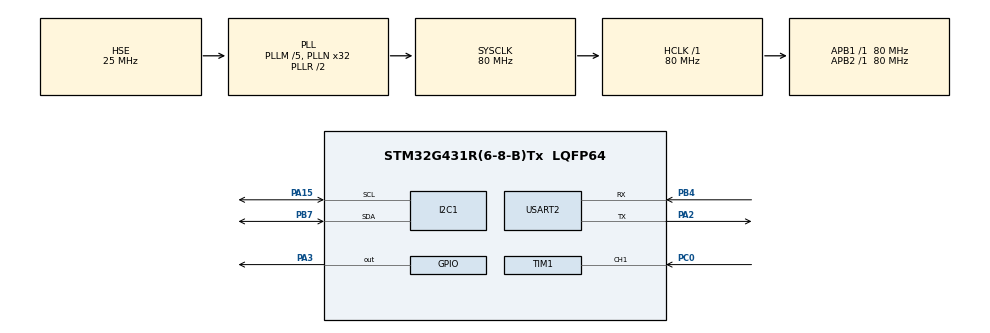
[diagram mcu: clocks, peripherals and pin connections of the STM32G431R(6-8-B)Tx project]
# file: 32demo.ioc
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Dma.Request0=USART2_RX
Dma.Request1=USART2_TX
Dma.USART2_RX.0.Direction=DMA_PERIPH_TO_MEMORY
Dma.USART2_RX.0.EventEnable=DISABLE
Dma.USART2_RX.0.Instance=DMA1_Channel1
Dma.USART2_RX.0.MemDataAlignment=DMA_MDATAALIGN_BYTE
Dma.USART2_RX.0.MemInc=DMA_MINC_ENABLE
Dma.USART2_RX.0.Mode=DMA_NORMAL
Dma.USART2_RX.0.PeriphDataAlignment=DMA_PDATAALIGN_BYTE
Dma.USART2_RX.0.PeriphInc=DMA_PINC_DISABLE
Dma.USART2_RX.0.Polarity=HAL_DMAMUX_REQ_GEN_RISING
Dma.USART2_RX.0.Priority=DMA_PRIORITY_LOW
Dma.USART2_RX.0.RequestNumber=1
Dma.USART2_RX.0.SignalID=NONE
Dma.USART2_RX.0.SyncEnable=DISABLE
Dma.USART2_RX.0.SyncPolarity=HAL_DMAMUX_SYNC_NO_EVENT
Dma.USART2_RX.0.SyncRequestNumber=1
Dma.USART2_RX.0.SyncSignalID=NONE
Dma.USART2_TX.1.Direction=DMA_MEMORY_TO_PERIPH
Dma.USART2_TX.1.EventEnable=DISABLE
Dma.USART2_TX.1.Instance=DMA1_Channel2
Dma.USART2_TX.1.MemDataAlignment=DMA_MDATAALIGN_BYTE
Dma.USART2_TX.1.MemInc=DMA_MINC_ENABLE
Dma.USART2_TX.1.Mode=DMA_NORMAL
Dma.USART2_TX.1.PeriphDataAlignment=DMA_PDATAALIGN_BYTE
Dma.USART2_TX.1.PeriphInc=DMA_PINC_DISABLE
Dma.USART2_TX.1.Polarity=HAL_DMAMUX_REQ_GEN_RISING
Dma.USART2_TX.1.Priority=DMA_PRIORITY_LOW
Dma.USART2_TX.1.RequestNumber=1
Dma.USART2_TX.1.SignalID=NONE
Dma.USART2_TX.1.SyncEnable=DISABLE
Dma.USART2_TX.1.SyncPolarity=HAL_DMAMUX_SYNC_NO_EVENT
Dma.USART2_TX.1.SyncRequestNumber=1
Dma.USART2_TX.1.SyncSignalID=NONE
I2C1.Timing=0x10D19CE4
Mcu.Family=STM32G4
Mcu.Name=STM32G431R(6-8-B)Tx
Mcu.Package=LQFP64
NVIC.DMA1_Channel1_IRQn=true\:0\:0\:false\:false\:true\:false\:true\:true
NVIC.DMA1_Channel2_IRQn=true\:0\:0\:false\:false\:true\:false\:true\:true
NVIC.PriorityGroup=NVIC_PRIORITYGROUP_4
NVIC.TIM1_UP_TIM16_IRQn=true\:0\:0\:false\:false\:true\:true\:true\:true
NVIC.USART2_IRQn=true\:0\:0\:false\:false\:true\:true\:true\:true
PA13.Mode=Serial_Wire
PA13.Signal=SYS_JTMS-SWDIO
PA14.Mode=Serial_Wire
PA14.Signal=SYS_JTCK-SWCLK
PA15.Mode=I2C
PA15.Signal=I2C1_SCL
PA2.Mode=Asynchronous
PA2.Signal=USART2_TX
PA3.Signal=GPIO_Output
PB4.Mode=Asynchronous
PB4.Signal=USART2_RX
PB7.Mode=I2C
PB7.Signal=I2C1_SDA
PC0.Signal=S_TIM1_CH1
PC14-OSC32_IN.Mode=LSE-External-Oscillator
PC14-OSC32_IN.Signal=RCC_OSC32_IN
PC15-OSC32_OUT.Mode=LSE-External-Oscillator
PC15-OSC32_OUT.Signal=RCC_OSC32_OUT
PF0-OSC_IN.Mode=HSE-External-Oscillator
PF0-OSC_IN.Signal=RCC_OSC_IN
PF1-OSC_OUT.Mode=HSE-External-Oscillator
PF1-OSC_OUT.Signal=RCC_OSC_OUT
ProjectManager.HeapSize=0x200
ProjectManager.StackSize=0x400
ProjectManager.TargetToolchain=CMake
RCC.ADC12Freq_Value=80000000
RCC.AHBFreq_Value=80000000
RCC.APB1Freq_Value=80000000
RCC.APB1TimFreq_Value=80000000
RCC.APB2Freq_Value=80000000
RCC.APB2TimFreq_Value=80000000
RCC.CortexFreq_Value=80000000
RCC.EXTERNAL_CLOCK_VALUE=12288000
RCC.HCLKFreq_Value=80000000
RCC.HSE_VALUE=25000000
RCC.HSI48_VALUE=48000000
RCC.HSI_VALUE=16000000
RCC.PLLM=RCC_PLLM_DIV5
RCC.PLLN=32
RCC.PLLSourceVirtual=RCC_PLLSOURCE_HSE
RCC.SYSCLKFreq_VALUE=80000000
RCC.SYSCLKSource=RCC_SYSCLKSOURCE_PLLCLK
RCC.USBFreq_Value=80000000
RCC.VCOOutputFreq_Value=160000000
SH.S_TIM1_CH1.0=TIM1_CH1,Input_Capture1_from_TI1
TIM1.Channel-Input_Capture1_from_TI1=TIM_CHANNEL_1
TIM1.PeriodNoDither=1000-1
TIM1.Prescaler=80-1
USART2.VirtualMode-Asynchronous=VM_ASYNC
VP_SYS_VS_DBSignals.Mode=DisableDeadBatterySignals
VP_TIM1_VS_ClockSourceINT.Mode=Internal
board=custom

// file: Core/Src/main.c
/* USER CODE BEGIN Header */
/**
  ******************************************************************************
  * @file           : main.c
  * @brief          : Main program body
  ******************************************************************************
  * @attention
  *
  * Copyright (c) 2026 STMicroelectronics.
  * All rights reserved.
  *
  * This software is licensed under terms that can be found in the LICENSE file
  * in the root directory of this software component.
  * If no LICENSE file comes with this software, it is provided AS-IS.
  *
  ******************************************************************************
  */
/* USER CODE END Header */
#include "main.h"

/* USER CODE BEGIN Includes */
#include "bootloader.h"
/* USER CODE END Includes */

I2C_HandleTypeDef hi2c1;

TIM_HandleTypeDef htim1;

UART_HandleTypeDef huart2;
DMA_HandleTypeDef hdma_usart2_rx;
DMA_HandleTypeDef hdma_usart2_tx;

/* USER CODE BEGIN PV */
static volatile uint8_t g_tx_ready = 0;   /* 发送标志位：1 = 数据就绪待发送 */
static volatile uint8_t g_tx_seq = 0;     /* 当前数据包序号 */
static volatile uint32_t g_tx_systick = 0; /* ISR 捕获的 SysTick 值 */
/* USER CODE END PV */

void SystemClock_Config(void);
static void MX_GPIO_Init(void);
static void MX_DMA_Init(void);
static void MX_I2C1_Init(void);
static void MX_TIM1_Init(void);
static void MX_USART2_UART_Init(void);

int main(void)
{

  /* MCU Configuration--------------------------------------------------------*/

  /* Reset of all peripherals, Initializes the Flash interface and the Systick. */
  HAL_Init();

  /* App 向量表偏移（Bootloader 已将 Flash 起始让给 App） */
  SCB->VTOR = 0x08008000UL;

  /* Configure the system clock */
  SystemClock_Config();

  /* Initialize all configured peripherals */
  MX_GPIO_Init();
  MX_DMA_Init();
  MX_I2C1_Init();
  MX_TIM1_Init();
  MX_USART2_UART_Init();

  /* Infinite loop */
  while (1)
  {

    /* USER CODE BEGIN 3 */
    if (g_tx_ready)
    {
      uint32_t systick = g_tx_systick;
      uint8_t seq = g_tx_seq;

      /* 组包: [序号(1B)] [SysTick大端(4B)] [校验和(1B)] */
      uint8_t txData[6];
      uint8_t checksum = 0;

      txData[0] = seq;
      checksum += seq;

      txData[1] = (systick >> 24) & 0xFF;
      txData[2] = (systick >> 16) & 0xFF;
      txData[3] = (systick >> 8) & 0xFF;
      txData[4] = systick & 0xFF;
      checksum += txData[1] + txData[2] + txData[3] + txData[4];

      txData[5] = checksum;

      HAL_I2C_Master_Transmit(&hi2c1, (uint16_t)(0x23 << 1), txData, sizeof(txData), 100);

      g_tx_seq++; /* 序号自增，uint8_t 超过 255 自动回绕 */
      g_tx_ready = 0;
    }
  }
  /* USER CODE END 3 */
}

void SystemClock_Config(void)
{
  RCC_OscInitTypeDef RCC_OscInitStruct = {0};
  RCC_ClkInitTypeDef RCC_ClkInitStruct = {0};

  /** Configure the main internal regulator output voltage
  */
  HAL_PWREx_ControlVoltageScaling(PWR_REGULATOR_VOLTAGE_SCALE1);

  /** Initializes the RCC Oscillators according to the specified parameters
  * in the RCC_OscInitTypeDef structure.
  */
  RCC_OscInitStruct.OscillatorType = RCC_OSCILLATORTYPE_HSE;
  RCC_OscInitStruct.HSEState = RCC_HSE_ON;
  RCC_OscInitStruct.PLL.PLLState = RCC_PLL_ON;
  RCC_OscInitStruct.PLL.PLLSource = RCC_PLLSOURCE_HSE;
  RCC_OscInitStruct.PLL.PLLM = RCC_PLLM_DIV5;
  RCC_OscInitStruct.PLL.PLLN = 32;
  RCC_OscInitStruct.PLL.PLLP = RCC_PLLP_DIV2;
  RCC_OscInitStruct.PLL.PLLQ = RCC_PLLQ_DIV2;
  RCC_OscInitStruct.PLL.PLLR = RCC_PLLR_DIV2;
  if (HAL_RCC_OscConfig(&RCC_OscInitStruct) != HAL_OK)
  {
    Error_Handler();
  }

  /** Initializes the CPU, AHB and APB buses clocks
  */
  RCC_ClkInitStruct.ClockType = RCC_CLOCKTYPE_HCLK|RCC_CLOCKTYPE_SYSCLK
                              |RCC_CLOCKTYPE_PCLK1|RCC_CLOCKTYPE_PCLK2;
  RCC_ClkInitStruct.SYSCLKSource = RCC_SYSCLKSOURCE_PLLCLK;
  RCC_ClkInitStruct.AHBCLKDivider = RCC_SYSCLK_DIV1;
  RCC_ClkInitStruct.APB1CLKDivider = RCC_HCLK_DIV1;
  RCC_ClkInitStruct.APB2CLKDivider = RCC_HCLK_DIV1;

  if (HAL_RCC_ClockConfig(&RCC_ClkInitStruct, FLASH_LATENCY_2) != HAL_OK)
  {
    Error_Handler();
  }
}

static void MX_I2C1_Init(void)
{

  hi2c1.Instance = I2C1;
  hi2c1.Init.Timing = 0x10D19CE4;
  hi2c1.Init.OwnAddress1 = 0;
  hi2c1.Init.AddressingMode = I2C_ADDRESSINGMODE_7BIT;
  hi2c1.Init.DualAddressMode = I2C_DUALADDRESS_DISABLE;
  hi2c1.Init.OwnAddress2 = 0;
  hi2c1.Init.OwnAddress2Masks = I2C_OA2_NOMASK;
  hi2c1.Init.GeneralCallMode = I2C_GENERALCALL_DISABLE;
  hi2c1.Init.NoStretchMode = I2C_NOSTRETCH_DISABLE;
  if (HAL_I2C_Init(&hi2c1) != HAL_OK)
  {
    Error_Handler();
  }

  /** Configure Analogue filter
  */
  if (HAL_I2CEx_ConfigAnalogFilter(&hi2c1, I2C_ANALOGFILTER_ENABLE) != HAL_OK)
  {
    Error_Handler();
  }

  /** Configure Digital filter
  */
  if (HAL_I2CEx_ConfigDigitalFilter(&hi2c1, 0) != HAL_OK)
  {
    Error_Handler();
  }

}

static void MX_TIM1_Init(void)
{

  TIM_ClockConfigTypeDef sClockSourceConfig = {0};
  TIM_MasterConfigTypeDef sMasterConfig = {0};
  TIM_IC_InitTypeDef sConfigIC = {0};

  htim1.Instance = TIM1;
  htim1.Init.Prescaler = 80-1;
  htim1.Init.CounterMode = TIM_COUNTERMODE_UP;
  htim1.Init.Period = 999;
  htim1.Init.ClockDivision = TIM_CLOCKDIVISION_DIV1;
  htim1.Init.RepetitionCounter = 0;
  htim1.Init.AutoReloadPreload = TIM_AUTORELOAD_PRELOAD_DISABLE;
  if (HAL_TIM_Base_Init(&htim1) != HAL_OK)
  {
    Error_Handler();
  }
  sClockSourceConfig.ClockSource = TIM_CLOCKSOURCE_INTERNAL;
  if (HAL_TIM_ConfigClockSource(&htim1, &sClockSourceConfig) != HAL_OK)
  {
    Error_Handler();
  }
  if (HAL_TIM_IC_Init(&htim1) != HAL_OK)
  {
    Error_Handler();
  }
  sMasterConfig.MasterOutputTrigger = TIM_TRGO_RESET;
  sMasterConfig.MasterOutputTrigger2 = TIM_TRGO2_RESET;
  sMasterConfig.MasterSlaveMode = TIM_MASTERSLAVEMODE_DISABLE;
  if (HAL_TIMEx_MasterConfigSynchronization(&htim1, &sMasterConfig) != HAL_OK)
  {
    Error_Handler();
  }
  sConfigIC.ICPolarity = TIM_INPUTCHANNELPOLARITY_RISING;
  sConfigIC.ICSelection = TIM_ICSELECTION_DIRECTTI;
  sConfigIC.ICPrescaler = TIM_ICPSC_DIV1;
  sConfigIC.ICFilter = 0;
  if (HAL_TIM_IC_ConfigChannel(&htim1, &sConfigIC, TIM_CHANNEL_1) != HAL_OK)
  {
    Error_Handler();
  }
  /* USER CODE BEGIN TIM1_Init 2 */
  /* Enable TIM1 update interrupt and start TIM1 in interrupt mode */
  HAL_NVIC_SetPriority(TIM1_UP_TIM16_IRQn, 0, 0);
  HAL_NVIC_EnableIRQ(TIM1_UP_TIM16_IRQn);
  HAL_TIM_Base_Start_IT(&htim1);
  /* USER CODE END TIM1_Init 2 */

}

static void MX_USART2_UART_Init(void)
{

  huart2.Instance = USART2;
  huart2.Init.BaudRate = 115200;
  huart2.Init.WordLength = UART_WORDLENGTH_8B;
  huart2.Init.StopBits = UART_STOPBITS_1;
  huart2.Init.Parity = UART_PARITY_NONE;
  huart2.Init.Mode = UART_MODE_TX_RX;
  huart2.Init.HwFlowCtl = UART_HWCONTROL_NONE;
  huart2.Init.OverSampling = UART_OVERSAMPLING_16;
  huart2.Init.OneBitSampling = UART_ONE_BIT_SAMPLE_DISABLE;
  huart2.Init.ClockPrescaler = UART_PRESCALER_DIV1;
  huart2.AdvancedInit.AdvFeatureInit = UART_ADVFEATURE_NO_INIT;
  if (HAL_UART_Init(&huart2) != HAL_OK)
  {
    Error_Handler();
  }
  if (HAL_UARTEx_SetTxFifoThreshold(&huart2, UART_TXFIFO_THRESHOLD_1_8) != HAL_OK)
  {
    Error_Handler();
  }
  if (HAL_UARTEx_SetRxFifoThreshold(&huart2, UART_RXFIFO_THRESHOLD_1_8) != HAL_OK)
  {
    Error_Handler();
  }
  if (HAL_UARTEx_DisableFifoMode(&huart2) != HAL_OK)
  {
    Error_Handler();
  }

}

static void MX_DMA_Init(void)
{

  /* DMA controller clock enable */
  __HAL_RCC_DMAMUX1_CLK_ENABLE();
  __HAL_RCC_DMA1_CLK_ENABLE();

  /* DMA interrupt init */
  /* DMA1_Channel1_IRQn interrupt configuration */
  HAL_NVIC_SetPriority(DMA1_Channel1_IRQn, 0, 0);
  HAL_NVIC_EnableIRQ(DMA1_Channel1_IRQn);
  /* DMA1_Channel2_IRQn interrupt configuration */
  HAL_NVIC_SetPriority(DMA1_Channel2_IRQn, 0, 0);
  HAL_NVIC_EnableIRQ(DMA1_Channel2_IRQn);

}

static void MX_GPIO_Init(void)
{
  GPIO_InitTypeDef GPIO_InitStruct = {0};

  /* GPIO Ports Clock Enable */
  __HAL_RCC_GPIOC_CLK_ENABLE();
  __HAL_RCC_GPIOF_CLK_ENABLE();
  __HAL_RCC_GPIOA_CLK_ENABLE();
  __HAL_RCC_GPIOB_CLK_ENABLE();

  /*Configure GPIO pin Output Level */
  HAL_GPIO_WritePin(GPIOA, GPIO_PIN_3, GPIO_PIN_RESET);

  /*Configure GPIO pin : PA3 */
  GPIO_InitStruct.Pin = GPIO_PIN_3;
  GPIO_InitStruct.Mode = GPIO_MODE_OUTPUT_PP;
  GPIO_InitStruct.Pull = GPIO_NOPULL;
  GPIO_InitStruct.Speed = GPIO_SPEED_FREQ_LOW;
  HAL_GPIO_Init(GPIOA, &GPIO_InitStruct);

}

/* USER CODE BEGIN 4 */

/**
  * @brief  TIM1 周期中断回调（由 HAL_TIM_IRQHandler 调用）
  *         翻转 PA3，捕获 SysTick 并置标志位，实际 I2C 发送在主循环完成
  * @param  htim: 定时器句柄
  * @retval None
  */
void HAL_TIM_PeriodElapsedCallback(TIM_HandleTypeDef *htim)
{
  if (htim->Instance == TIM1)
  {
    /* 翻转 PA3 */
    HAL_GPIO_TogglePin(GPIOA, GPIO_PIN_3);

    /* 捕获数据并置标志位，实际发送在主循环中完成 */
    g_tx_systick = HAL_GetTick();
    g_tx_ready = 1;
  }
}

/* USER CODE END 4 */

void Error_Handler(void)
{
  __disable_irq();
  while (1)
  {
  }
}
